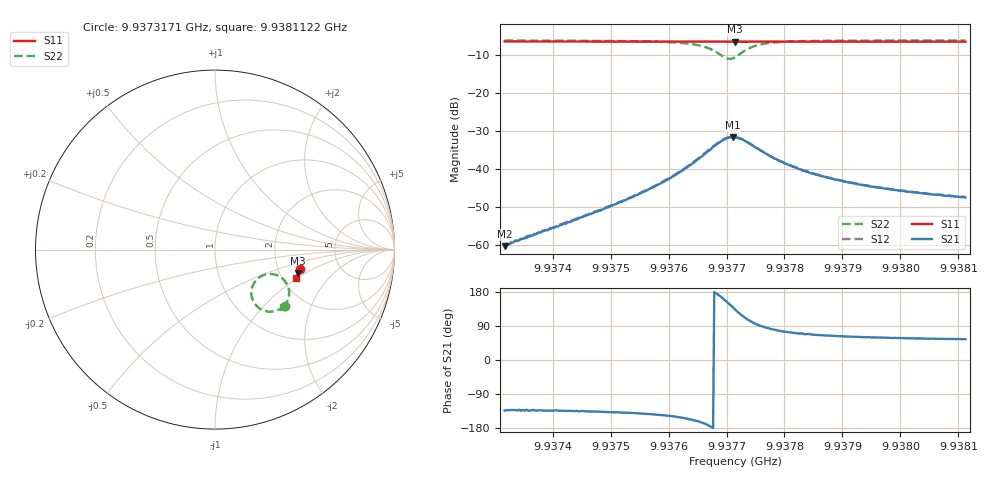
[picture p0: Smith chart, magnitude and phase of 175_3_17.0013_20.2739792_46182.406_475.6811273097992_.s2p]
#  HZ  S  RI  R  50.00
! Rohde & Schwarz Vector Network Analyzer
! Rohde-Schwarz,ZNB20-2Port,1311601062101988,3.16
! Created: UTC 3/20/2024, 10:59:55 PM
! freq[Hz]  re:S11  im:S11  re:S21  im:S21  re:S12  im:S12  re:S22  im:S22
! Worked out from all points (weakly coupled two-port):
!   401 points, 9.9373171 GHz to 9.9381122 GHz, reference 50 ohm
!   highest |S21| = -31.52 dB at 9.9377107 GHz (marker M1); lowest = -60.2 dB at 9.9373171 GHz (marker M2)
!   lowest |S11| = -6.4 dB at 9.9377146 GHz (marker M3), VSWR 2.84, Z = 125 - j42.7 ohm
!   |S11| at or under -10 dB: nowhere
!   |S22| runs from -10.9 to -6.0 dB; largest |S21 - S12| = 0.0014
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9.93731711e9  0.4713 -0.1075  -0.000673 -0.000712  -0.000687 -0.000737  0.3876 -0.3116
9.93745028e9  0.4684 -0.1167  -0.00165 -0.00167  -0.00173 -0.00168  0.3722 -0.3245
9.93752382e9  0.4668 -0.1216  -0.00295 -0.00256  -0.00303 -0.00254  0.3574 -0.3338
9.93758345e9  0.4654 -0.1256  -0.00524 -0.00368  -0.00537 -0.00366  0.3349 -0.3425
9.93762519e9  0.464 -0.1285  -0.00877 -0.00451  -0.00902 -0.00446  0.303 -0.346
9.93764705e9  0.463 -0.1301  -0.0122 -0.00435  -0.0125 -0.00424  0.2748 -0.3409
9.93766296e9  0.4624 -0.131  -0.0158 -0.0032  -0.0163 -0.00289  0.2465 -0.3269
9.93767687e9  0.4615 -0.1317  -0.0198 -0.000296  -0.0202 0.000194  0.2191 -0.2983
9.93769078e9  0.4605 -0.1322  -0.0229 0.00557  -0.0233 0.00634  0.2024 -0.2465
9.93770271e9  0.4603 -0.132  -0.0227 0.0127  -0.0226 0.0139  0.2157 -0.1894
9.93771066e9  0.4601 -0.1319  -0.0201 0.0174  -0.0196 0.0185  0.2434 -0.1574
9.93771463e9  0.4601 -0.1318  -0.0183 0.0191  -0.0177 0.0201  0.2614 -0.1461
9.93772457e9  0.4606 -0.1322  -0.0125 0.0219  -0.012 0.0225  0.309 -0.1356
9.9377365e9  0.461 -0.1326  -0.00648 0.0217  -0.00594 0.022  0.3556 -0.1472
9.93776035e9  0.4613 -0.1345  0.000222 0.0175  0.000637 0.0176  0.4007 -0.1918
9.93777824e9  0.4613 -0.136  0.00221 0.0144  0.00254 0.0145  0.4107 -0.2194
9.93780209e9  0.461 -0.1378  0.0031 0.0114  0.00335 0.0115  0.4128 -0.245
9.9378478e9  0.46 -0.1413  0.00332 0.00812  0.00366 0.00816  0.4082 -0.2734
9.9378975e9  0.4587 -0.1447  0.00328 0.00633  0.0034 0.0063  0.4016 -0.2901
9.93798098e9  0.4566 -0.1503  0.00287 0.00468  0.00298 0.00466  0.3922 -0.3065
9.93804856e9  0.4549 -0.1546  0.00264 0.00393  0.00274 0.00393  0.386 -0.3151
9.93811216e9  0.4533 -0.1589  0.00246 0.00351  0.00255 0.00348  0.3807 -0.3213
